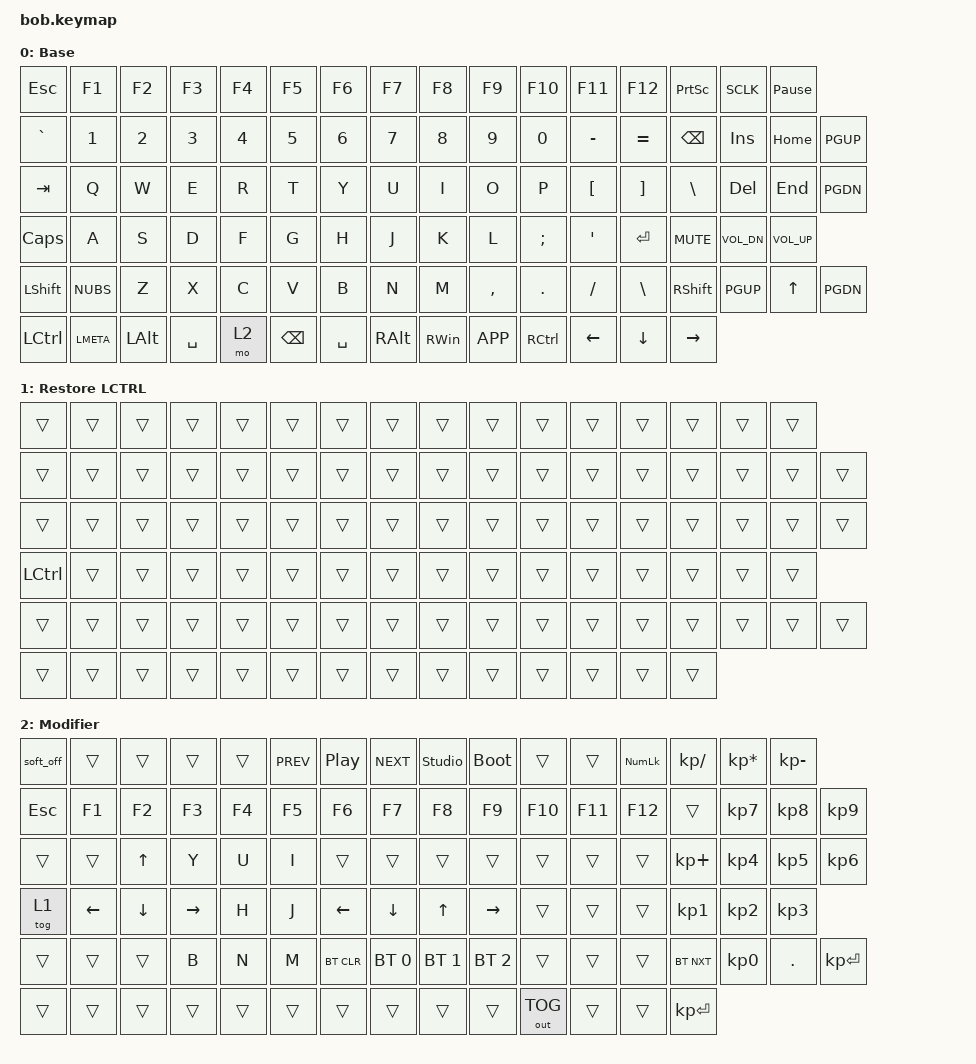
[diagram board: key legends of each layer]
/*
 * Copyright (c) 2021 The ZMK Contributors
 *
 * SPDX-License-Identifier: MIT
 */

#include <behaviors.dtsi>
#include <dt-bindings/zmk/keys.h>
#include <dt-bindings/zmk/bt.h>
#include <dt-bindings/zmk/rgb.h>
#include <dt-bindings/zmk/outputs.h>

/ {
        keymap {
                compatible = "zmk,keymap";

                default_layer {
                        display-name = "Base";
                        bindings = <
                           &kp ESC &kp F1 &kp F2 &kp F3 &kp F4 &kp F5 &kp F6 &kp F7 &kp F8 &kp F9 &kp F10 &kp F11 &kp F12 &kp PSCRN &kp SCLK &kp PAUSE_BREAK
                           &kp GRAVE &kp N1 &kp N2 &kp N3 &kp N4 &kp N5 &kp N6 &kp N7 &kp N8 &kp N9 &kp N0 &kp MINUS &kp EQUAL &kp BSPC &kp INS &kp HOME &kp PGUP
                           &kp TAB &kp Q &kp W &kp E &kp R &kp T &kp Y &kp U &kp I &kp O &kp P &kp LBKT &kp RBKT &kp BSLH &kp DEL &kp END &kp PGDN
                           &kp CAPS &kp A &kp S &kp D &kp F &kp G &kp H &kp J &kp K &kp L &kp SEMI &kp SQT &kp ENTER &kp C_MUTE &kp C_VOL_DN &kp C_VOL_UP
                           &kp LSHFT &kp NUBS &kp Z &kp X &kp C &kp V &kp B &kp N &kp M &kp COMMA &kp DOT &kp SLASH &kp BSLH &kp RSHFT &kp PGUP &kp UP &kp PGDN
                           &kp LCTRL &kp LMETA &kp LALT &kp SPACE &mo 2 &kp BSPC &kp SPACE &kp RALT &kp RWIN &kp K_APP &kp RCTRL &kp LEFT &kp DOWN &kp RIGHT
                                >;
                        };

                caps_layer {
                        display-name = "Restore LCTRL";
                        bindings = <
                           &trans &trans &trans &trans &trans  &trans &trans &trans &trans &trans  &trans &trans &trans &trans &trans  &trans
                           &trans &trans &trans &trans &trans  &trans &trans &trans &trans &trans  &trans &trans &trans &trans &trans  &trans &trans 
                           &trans &trans &trans &trans &trans  &trans &trans &trans &trans &trans  &trans &trans &trans &trans &trans  &trans &trans 
                           &kp LCTRL &trans &trans &trans &trans  &trans &trans &trans &trans &trans  &trans &trans &trans &trans &trans  &trans 
                           &trans &trans &trans &trans &trans  &trans &trans &trans &trans &trans  &trans &trans &trans &trans &trans  &trans &trans 
                           &trans &trans &trans &trans &trans  &trans &trans &trans &trans &trans  &trans &trans &trans &trans 
                                >;
                        };

			// 16 17 17 16 17 14
                function_layer {
                        display-name = "Modifier";
                        bindings = <
                           &soft_off  &trans &trans &trans &trans &kp C_PREV  &kp C_PP &kp C_NEXT &studio_unlock &bootloader &trans &trans &kp KP_NUM &kp KP_SLASH &kp KP_ASTERISK &kp KP_MINUS
                            &kp ESC &kp F1 &kp F2 &kp F3 &kp F4 &kp F5 &kp F6 &kp F7 &kp F8 &kp F9 &kp F10 &kp F11 &kp F12 &trans &kp KP_N7  &kp KP_N8 &kp KP_N9
                           &trans &trans &kp UP &kp Y &kp U  &kp I &trans &trans &trans &trans  &trans &trans &trans &kp KP_PLUS &kp KP_N4  &kp KP_N5 &kp KP_N6
                           &tog 1 &kp LEFT &kp DOWN &kp RIGHT &kp H &kp J &kp LEFT &kp DOWN &kp UP &kp RIGHT  &trans &trans &trans &kp KP_N1 &kp KP_N2  &kp KP_N3 
                           &trans &trans &trans &kp B &kp N &kp M &bt BT_CLR &bt BT_SEL 0 &bt BT_SEL 1 &bt BT_SEL 2  &trans &trans &trans &bt BT_NXT  &kp KP_N0 &kp DOT &kp KP_ENTER 
                           &trans &trans &trans &trans &trans  &trans &trans &trans &trans &trans &out OUT_TOG &trans &trans &kp KP_ENTER
                                >;
                        };
                        
                extra1 {
                        display-name = "Extra 1";
                        status = "reserved";
                        };
                extra2 {
                        display-name = "Extra 2";
                        status = "reserved";
                        };
        };
};

&soft_off {
    hold-time-ms = <5000>; // Only turn off it the key is held for 5 seconds or longer.
};
